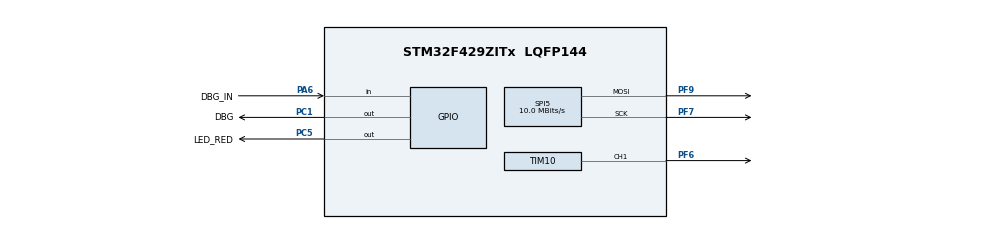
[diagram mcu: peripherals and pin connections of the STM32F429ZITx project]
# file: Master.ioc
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Mcu.Family=STM32F4
Mcu.Name=STM32F429ZITx
Mcu.Package=LQFP144
NVIC.PriorityGroup=NVIC_PRIORITYGROUP_4
PA3.GPIO_Speed=GPIO_SPEED_FREQ_HIGH
PA3.Signal=S_TIM2_CH4
PA6.GPIO_Label=DBG_IN
PA6.Signal=GPIO_Input
PC1.GPIO_Label=DBG
PC1.Signal=GPIO_Output
PC5.GPIO_Label=LED_RED
PC5.GPIO_Speed=GPIO_SPEED_FREQ_HIGH
PC5.Signal=GPIO_Output
PF6.GPIO_Speed=GPIO_SPEED_FREQ_VERY_HIGH
PF6.Signal=S_TIM10_CH1
PF7.Mode=TX_Only_Simplex_Unidirect_Master
PF7.Signal=SPI5_SCK
PF9.Mode=TX_Only_Simplex_Unidirect_Master
PF9.Signal=SPI5_MOSI
PH0/OSC_IN.Mode=HSE-External-Oscillator
PH0/OSC_IN.Signal=RCC_OSC_IN
PH1/OSC_OUT.Mode=HSE-External-Oscillator
PH1/OSC_OUT.Signal=RCC_OSC_OUT
ProjectManager.HeapSize=0x200
ProjectManager.StackSize=0x400
ProjectManager.TargetToolchain=Makefile
RCC.48MHZClocksFreq_Value=40000000
RCC.AHBFreq_Value=80000000
RCC.APB1CLKDivider=RCC_HCLK_DIV2
RCC.APB1Freq_Value=40000000
RCC.APB1TimFreq_Value=80000000
RCC.APB2CLKDivider=RCC_HCLK_DIV2
RCC.APB2Freq_Value=40000000
RCC.APB2TimFreq_Value=80000000
RCC.CortexFreq_Value=80000000
RCC.HCLKFreq_Value=80000000
RCC.HSE_VALUE=8000000
RCC.HSI_VALUE=16000000
RCC.LSE_VALUE=32768
RCC.PLLM=4
RCC.PLLN=80
RCC.PLLSourceVirtual=RCC_PLLSOURCE_HSE
RCC.SYSCLKFreq_VALUE=80000000
RCC.SYSCLKSource=RCC_SYSCLKSOURCE_PLLCLK
RCC.VCOOutputFreq_Value=160000000
SH.S_TIM10_CH1.0=TIM10_CH1,PWM Generation1 CH1
SH.S_TIM2_CH4.0=TIM2_CH4
SPI5.BaudRatePrescaler=SPI_BAUDRATEPRESCALER_4
SPI5.CLKPhase=SPI_PHASE_2EDGE
SPI5.CalculateBaudRate=10.0 MBits/s
SPI5.DataSize=SPI_DATASIZE_16BIT
SPI5.Direction=SPI_DIRECTION_2LINES
SPI5.Mode=SPI_MODE_MASTER
SPI5.VirtualType=VM_MASTER
TIM10.Channel=TIM_CHANNEL_1
TIM10.Period=7
TIM10.Pulse=2
VP_TIM10_VS_ClockSourceINT.Mode=Enable_Timer
board=custom

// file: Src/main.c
/* USER CODE BEGIN Header */
/**
  ******************************************************************************
  * @file           : main.c
  * @brief          : Main program body
  ******************************************************************************
  * @attention
  *
  * Copyright (c) 2022 STMicroelectronics.
  * All rights reserved.
  *
  * This software is licensed under terms that can be found in the LICENSE file
  * in the root directory of this software component.
  * If no LICENSE file comes with this software, it is provided AS-IS.
  *
  ******************************************************************************
  */
/* USER CODE END Header */
#include "main.h"

void SystemClock_Config(void);
static void MX_GPIO_Init(void);
static void MX_SPI5_Init(void);
static void MX_TIM10_Init(void);

/* USER CODE BEGIN 0 */

static uint8_t data[16];

void fill_data(uint8_t data[], uint16_t value)
{
  for (int i=0; i<16; i++)
  {
    data[i] = (value & 0x8000 ? 1 : 0);
    value <<= 1;
  }
}

#define __NOP_S() do {__NOP();__NOP();__NOP();__NOP();__NOP();__NOP(); }while(0)
#define __NOP8() do {__NOP();__NOP();__NOP();__NOP();__NOP();__NOP();__NOP();__NOP(); }while(0)
#define __NOP8_2() do {__NOP8(); __NOP8(); }while(0)
#define __NOP8_4() do {__NOP8(); __NOP8(); __NOP8(); __NOP8(); }while(0)
#define __NOP_L() do {__NOP8_4();__NOP8_4();__NOP8_4();__NOP8_4();__NOP8();}while(0)

#define SDA_GPIO_Port GPIOF
#define SCL_GPIO_Port GPIOF
#define SDA_Pin LL_GPIO_PIN_9
#define SCL_Pin LL_GPIO_PIN_6

#define SDA_0() do { LL_GPIO_ResetOutputPin( SDA_GPIO_Port, SDA_Pin ); }while(0)
#define SCL_0() do { LL_GPIO_ResetOutputPin( SCL_GPIO_Port, SCL_Pin ); }while(0)
#define SDA_1() do { LL_GPIO_SetOutputPin( SDA_GPIO_Port, SDA_Pin );  }while(0)
#define SCL_1() do { LL_GPIO_SetOutputPin( SCL_GPIO_Port, SCL_Pin );  }while(0)

#define SINGLE_BIT( X ) do { \
  if ( data[X] ) SDA_1(); else SDA_0(); \
    SCL_1();SCL_0(); \
} while (0)
/* USER CODE END 0 */

int main(void)
{

  /* MCU Configuration--------------------------------------------------------*/

  /* Reset of all peripherals, Initializes the Flash interface and the Systick. */
  LL_APB2_GRP1_EnableClock(LL_APB2_GRP1_PERIPH_SYSCFG);
  LL_APB1_GRP1_EnableClock(LL_APB1_GRP1_PERIPH_PWR);

  /* System interrupt init*/
  NVIC_SetPriorityGrouping(NVIC_PRIORITYGROUP_4);

  /* SysTick_IRQn interrupt configuration */
  NVIC_SetPriority(SysTick_IRQn, NVIC_EncodePriority(NVIC_GetPriorityGrouping(),15, 0));

  /* Configure the system clock */
  SystemClock_Config();

  /* Initialize all configured peripherals */
  MX_GPIO_Init();
  MX_SPI5_Init();
  MX_TIM10_Init();

  /* Infinite loop */
  /* USER CODE BEGIN WHILE */
  volatile uint32_t mode_spi = GPIOF->MODER;

  LL_GPIO_SetPinMode(SCL_GPIO_Port, SCL_Pin, LL_GPIO_MODE_OUTPUT);
  LL_GPIO_SetPinMode(SDA_GPIO_Port, SDA_Pin, LL_GPIO_MODE_OUTPUT);

  volatile uint32_t mode_gpio = GPIOF->MODER;
  LL_SPI_Enable(SPI5);

  LL_TIM_CC_EnableChannel(TIM10, LL_TIM_CHANNEL_CH1);

  uint16_t value = 0x1234;
  while (1)
  {
    LL_GPIO_SetOutputPin( DBG_GPIO_Port, DBG_Pin );

    value = ((value + 1) % 500);//0x8001;//
    //delay 18 us on 80 MHz
    //delayus(18);
    for (volatile int i=0; i<130; i++) __NOP();

    fill_data(data, value);

    LL_GPIO_ResetOutputPin( DBG_GPIO_Port, DBG_Pin );

    //start
    SDA_0();
    __NOP_S();
    SCL_0();

    //16 bits

    LL_TIM_SetCounter(TIM10, -15);
    LL_TIM_EnableCounter(TIM10);

    LL_SPI_TransmitData16(SPI5, value);
    GPIOF->MODER = mode_spi;

    //while ( LL_SPI_IsActiveFlag_BSY(SPI1) ); // tx is empty ?!
    __NOP_L();

    GPIOF->MODER = mode_gpio;
    LL_TIM_DisableCounter(TIM10);

    __NOP8();__NOP();__NOP();
    SCL_1();SCL_1();SCL_0();  // clock 17
    __NOP_S();__NOP_S();

    //finish
    SCL_1();
    __NOP_S();
    SDA_1();

    /* USER CODE END WHILE */

  }
}

void SystemClock_Config(void)
{
  LL_FLASH_SetLatency(LL_FLASH_LATENCY_2);
  while(LL_FLASH_GetLatency()!= LL_FLASH_LATENCY_2)
  {
  }
  LL_PWR_SetRegulVoltageScaling(LL_PWR_REGU_VOLTAGE_SCALE3);
  LL_PWR_DisableOverDriveMode();
  LL_RCC_HSE_Enable();

   /* Wait till HSE is ready */
  while(LL_RCC_HSE_IsReady() != 1)
  {

  }
  LL_RCC_PLL_ConfigDomain_SYS(LL_RCC_PLLSOURCE_HSE, LL_RCC_PLLM_DIV_4, 80, LL_RCC_PLLP_DIV_2);
  LL_RCC_PLL_Enable();

   /* Wait till PLL is ready */
  while(LL_RCC_PLL_IsReady() != 1)
  {

  }
  LL_RCC_SetAHBPrescaler(LL_RCC_SYSCLK_DIV_1);
  LL_RCC_SetAPB1Prescaler(LL_RCC_APB1_DIV_2);
  LL_RCC_SetAPB2Prescaler(LL_RCC_APB2_DIV_2);
  LL_RCC_SetSysClkSource(LL_RCC_SYS_CLKSOURCE_PLL);

   /* Wait till System clock is ready */
  while(LL_RCC_GetSysClkSource() != LL_RCC_SYS_CLKSOURCE_STATUS_PLL)
  {

  }
  LL_Init1msTick(80000000);
  LL_SetSystemCoreClock(80000000);
  LL_RCC_SetTIMPrescaler(LL_RCC_TIM_PRESCALER_TWICE);
}

static void MX_SPI5_Init(void)
{

  LL_SPI_InitTypeDef SPI_InitStruct = {0};

  LL_GPIO_InitTypeDef GPIO_InitStruct = {0};

  /* Peripheral clock enable */
  LL_APB2_GRP1_EnableClock(LL_APB2_GRP1_PERIPH_SPI5);

  LL_AHB1_GRP1_EnableClock(LL_AHB1_GRP1_PERIPH_GPIOF);
  /**SPI5 GPIO Configuration
  PF7   ------> SPI5_SCK
  PF9   ------> SPI5_MOSI
  */
  GPIO_InitStruct.Pin = LL_GPIO_PIN_7|LL_GPIO_PIN_9;
  GPIO_InitStruct.Mode = LL_GPIO_MODE_ALTERNATE;
  GPIO_InitStruct.Speed = LL_GPIO_SPEED_FREQ_VERY_HIGH;
  GPIO_InitStruct.OutputType = LL_GPIO_OUTPUT_PUSHPULL;
  GPIO_InitStruct.Pull = LL_GPIO_PULL_NO;
  GPIO_InitStruct.Alternate = LL_GPIO_AF_5;
  LL_GPIO_Init(GPIOF, &GPIO_InitStruct);

  /* SPI5 parameter configuration*/
  SPI_InitStruct.TransferDirection = LL_SPI_FULL_DUPLEX;
  SPI_InitStruct.Mode = LL_SPI_MODE_MASTER;
  SPI_InitStruct.DataWidth = LL_SPI_DATAWIDTH_16BIT;
  SPI_InitStruct.ClockPolarity = LL_SPI_POLARITY_LOW;
  SPI_InitStruct.ClockPhase = LL_SPI_PHASE_2EDGE;
  SPI_InitStruct.NSS = LL_SPI_NSS_SOFT;
  SPI_InitStruct.BaudRate = LL_SPI_BAUDRATEPRESCALER_DIV4;
  SPI_InitStruct.BitOrder = LL_SPI_MSB_FIRST;
  SPI_InitStruct.CRCCalculation = LL_SPI_CRCCALCULATION_DISABLE;
  SPI_InitStruct.CRCPoly = 10;
  LL_SPI_Init(SPI5, &SPI_InitStruct);
  LL_SPI_SetStandard(SPI5, LL_SPI_PROTOCOL_MOTOROLA);

}

static void MX_TIM10_Init(void)
{

  LL_TIM_InitTypeDef TIM_InitStruct = {0};
  LL_TIM_OC_InitTypeDef TIM_OC_InitStruct = {0};

  LL_GPIO_InitTypeDef GPIO_InitStruct = {0};

  /* Peripheral clock enable */
  LL_APB2_GRP1_EnableClock(LL_APB2_GRP1_PERIPH_TIM10);

  TIM_InitStruct.Prescaler = 0;
  TIM_InitStruct.CounterMode = LL_TIM_COUNTERMODE_UP;
  TIM_InitStruct.Autoreload = 7;
  TIM_InitStruct.ClockDivision = LL_TIM_CLOCKDIVISION_DIV1;
  LL_TIM_Init(TIM10, &TIM_InitStruct);
  LL_TIM_DisableARRPreload(TIM10);
  LL_TIM_OC_EnablePreload(TIM10, LL_TIM_CHANNEL_CH1);
  TIM_OC_InitStruct.OCMode = LL_TIM_OCMODE_PWM1;
  TIM_OC_InitStruct.OCState = LL_TIM_OCSTATE_DISABLE;
  TIM_OC_InitStruct.OCNState = LL_TIM_OCSTATE_DISABLE;
  TIM_OC_InitStruct.CompareValue = 2;
  TIM_OC_InitStruct.OCPolarity = LL_TIM_OCPOLARITY_HIGH;
  LL_TIM_OC_Init(TIM10, LL_TIM_CHANNEL_CH1, &TIM_OC_InitStruct);
  LL_TIM_OC_DisableFast(TIM10, LL_TIM_CHANNEL_CH1);
  LL_AHB1_GRP1_EnableClock(LL_AHB1_GRP1_PERIPH_GPIOF);
  /**TIM10 GPIO Configuration
  PF6   ------> TIM10_CH1
  */
  GPIO_InitStruct.Pin = LL_GPIO_PIN_6;
  GPIO_InitStruct.Mode = LL_GPIO_MODE_ALTERNATE;
  GPIO_InitStruct.Speed = LL_GPIO_SPEED_FREQ_VERY_HIGH;
  GPIO_InitStruct.OutputType = LL_GPIO_OUTPUT_PUSHPULL;
  GPIO_InitStruct.Pull = LL_GPIO_PULL_NO;
  GPIO_InitStruct.Alternate = LL_GPIO_AF_3;
  LL_GPIO_Init(GPIOF, &GPIO_InitStruct);

}

static void MX_GPIO_Init(void)
{
  LL_GPIO_InitTypeDef GPIO_InitStruct = {0};

  /* GPIO Ports Clock Enable */
  LL_AHB1_GRP1_EnableClock(LL_AHB1_GRP1_PERIPH_GPIOF);
  LL_AHB1_GRP1_EnableClock(LL_AHB1_GRP1_PERIPH_GPIOH);
  LL_AHB1_GRP1_EnableClock(LL_AHB1_GRP1_PERIPH_GPIOC);
  LL_AHB1_GRP1_EnableClock(LL_AHB1_GRP1_PERIPH_GPIOA);

  /**/
  LL_GPIO_ResetOutputPin(GPIOC, DBG_Pin|LED_RED_Pin);

  /**/
  GPIO_InitStruct.Pin = DBG_Pin;
  GPIO_InitStruct.Mode = LL_GPIO_MODE_OUTPUT;
  GPIO_InitStruct.Speed = LL_GPIO_SPEED_FREQ_LOW;
  GPIO_InitStruct.OutputType = LL_GPIO_OUTPUT_PUSHPULL;
  GPIO_InitStruct.Pull = LL_GPIO_PULL_NO;
  LL_GPIO_Init(DBG_GPIO_Port, &GPIO_InitStruct);

  /**/
  GPIO_InitStruct.Pin = LL_GPIO_PIN_3;
  GPIO_InitStruct.Mode = LL_GPIO_MODE_ALTERNATE;
  GPIO_InitStruct.Speed = LL_GPIO_SPEED_FREQ_HIGH;
  GPIO_InitStruct.OutputType = LL_GPIO_OUTPUT_PUSHPULL;
  GPIO_InitStruct.Pull = LL_GPIO_PULL_NO;
  GPIO_InitStruct.Alternate = LL_GPIO_AF_1;
  LL_GPIO_Init(GPIOA, &GPIO_InitStruct);

  /**/
  GPIO_InitStruct.Pin = DBG_IN_Pin;
  GPIO_InitStruct.Mode = LL_GPIO_MODE_INPUT;
  GPIO_InitStruct.Pull = LL_GPIO_PULL_NO;
  LL_GPIO_Init(DBG_IN_GPIO_Port, &GPIO_InitStruct);

  /**/
  GPIO_InitStruct.Pin = LED_RED_Pin;
  GPIO_InitStruct.Mode = LL_GPIO_MODE_OUTPUT;
  GPIO_InitStruct.Speed = LL_GPIO_SPEED_FREQ_HIGH;
  GPIO_InitStruct.OutputType = LL_GPIO_OUTPUT_PUSHPULL;
  GPIO_InitStruct.Pull = LL_GPIO_PULL_NO;
  LL_GPIO_Init(LED_RED_GPIO_Port, &GPIO_InitStruct);

}

void Error_Handler(void)
{
  __disable_irq();
  while (1)
  {
  }
}
